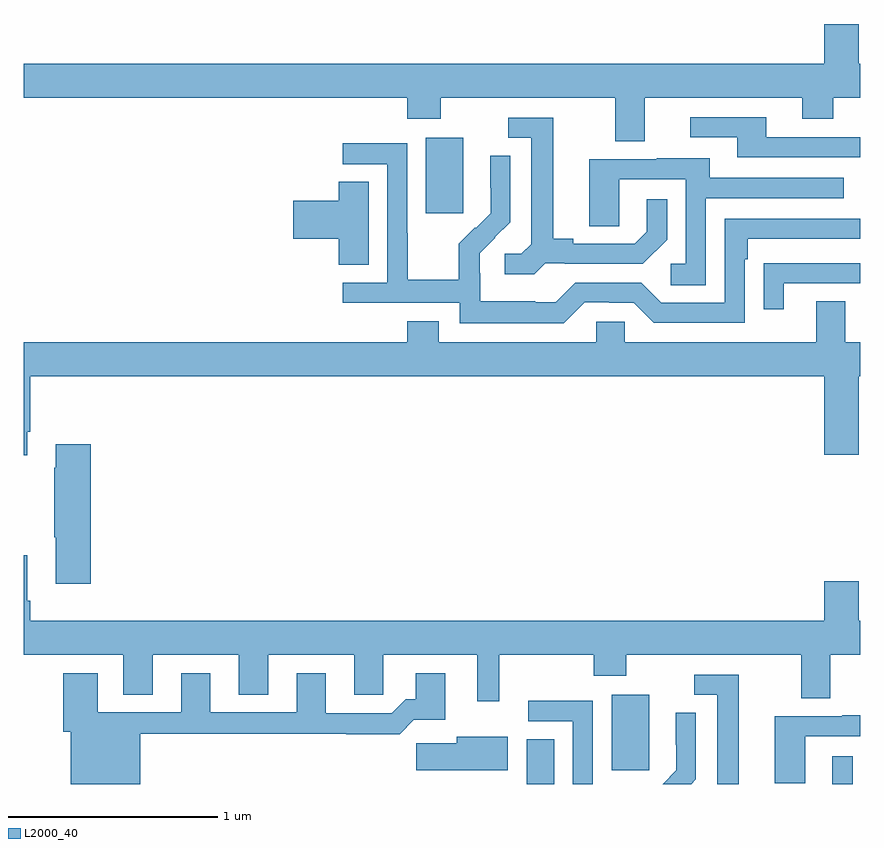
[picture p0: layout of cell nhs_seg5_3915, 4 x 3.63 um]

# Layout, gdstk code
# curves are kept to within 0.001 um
import gdstk
lib = gdstk.Library(unit=1e-6, precision=1e-09)
def R(c, l, rs):  # rectangles x0, y0, x1, y1
    for r in rs: c.add(gdstk.rectangle(r[:2], r[2:], *l))
def P(c, l, *ps):  # polygons
    for p in ps: c.add(gdstk.Polygon(p, *l))
L2000_40 = (2000, 40)

nhs_seg5_3915 = lib.new_cell('nhs_seg5_3915')
R(nhs_seg5_3915, L2000_40, [(343.406,866.799,343.537,867.014), (344.867,866.799,344.964,866.932), (343.811,866.865,343.99,867.226), (342.923,869.529,343.102,869.89)])
P(nhs_seg5_3915, L2000_40, [(343.969,870.08),(344.723,870.08),(344.723,869.981),(344.871,869.981),(344.871,870.08),(345,870.08),(345,870.244),(344.992,870.244),(344.992,870.433),(344.828,870.433),(344.828,870.244),(341,870.244),(341,870.08),(342.833,870.08),(342.833,869.981),(342.993,869.981),(342.993,870.08),(343.829,870.08),(343.829,869.872),(343.969,869.872)],
  [(345,869.892),(344.551,869.892),(344.551,869.988),(344.187,869.988),(344.187,869.892),(344.411,869.892),(344.411,869.796),(345,869.796)],
  [(343.494,869.289),(343.588,869.289),(343.588,869.286),(343.96,869.286),(344.076,869.402),(344.076,869.596),(343.979,869.596),(343.979,869.439),(343.922,869.382),(343.627,869.382),(343.627,869.405),(343.531,869.405),(343.531,869.985),(343.317,869.985),(343.317,869.889),(343.427,869.889),(343.427,869.381),(343.38,869.334),(343.299,869.334),(343.299,869.237),(343.442,869.237)],
  [(343.683,869.103),(343.799,869.103),(343.799,869.1),(343.917,869.1),(344.013,869.004),(344.448,869.004),(344.448,869.309),(344.461,869.309),(344.461,869.406),(345,869.406),(345,869.502),(344.352,869.502),(344.352,869.1),(344.049,869.1),(343.953,869.196),(343.638,869.196),(343.545,869.103),(343.445,869.103),(343.445,869.107),(343.182,869.107),(343.182,869.241),(343.18,869.241),(343.18,869.338),(343.326,869.486),(343.326,869.804),(343.23,869.804),(343.23,869.65),(343.232,869.65),(343.232,869.528),(343.161,869.457),(343.158,869.46),(343.081,869.383),(343.081,869.209),(342.837,869.209),(342.837,869.432),(342.834,869.432),(342.834,869.862),(342.525,869.862),(342.525,869.763),(342.738,869.763),(342.738,869.196),(342.525,869.196),(342.525,869.1),(343.086,869.1),(343.086,869.003),(343.583,869.003)],
  [(344.262,869.601),(344.921,869.601),(344.921,869.697),(344.281,869.697),(344.281,869.791),(344.027,869.791),(344.027,869.787),(343.703,869.787),(343.703,869.467),(343.848,869.467),(343.848,869.691),(344.166,869.691),(344.166,869.286),(344.094,869.286),(344.094,869.185),(344.262,869.185)],
  [(342.649,869.678),(342.506,869.678),(342.506,869.588),(342.288,869.588),(342.288,869.405),(342.506,869.405),(342.506,869.281),(342.649,869.281)],
  [(344.635,869.193),(345,869.193),(345,869.289),(344.641,869.289),(344.641,869.288),(344.539,869.288),(344.539,869.07),(344.635,869.07)],
  [(341.017,868.483),(341.03,868.483),(341.03,868.748),(344.828,868.748),(344.828,868.374),(344.992,868.374),(344.992,868.748),(345,868.748),(345,868.912),(344.929,868.912),(344.929,869.107),(344.789,869.107),(344.789,868.912),(343.875,868.912),(343.875,869.01),(343.737,869.01),(343.737,868.912),(342.985,868.912),(342.985,869.011),(342.833,869.011),(342.833,868.912),(341,868.912),(341,868.371),(341.017,868.371)],
  [(341.321,868.423),(341.153,868.423),(341.153,868.31),(341.146,868.31),(341.146,867.979),(341.153,867.979),(341.153,867.756),(341.321,867.756)],
  [(343.273,867.416),(343.726,867.416),(343.726,867.317),(343.881,867.317),(343.881,867.416),(344.717,867.416),(344.717,867.208),(344.857,867.208),(344.857,867.416),(345,867.416),(345,867.58),(344.992,867.58),(344.992,867.769),(344.828,867.769),(344.828,867.58),(341.03,867.58),(341.03,867.676),(341.017,867.676),(341.017,867.892),(341,867.892),(341,867.416),(341.477,867.416),(341.477,867.226),(341.617,867.226),(341.617,867.416),(342.029,867.416),(342.029,867.226),(342.169,867.226),(342.169,867.416),(342.581,867.416),(342.581,867.226),(342.72,867.226),(342.72,867.416),(343.169,867.416),(343.169,867.195),(343.273,867.195)],
  [(341.557,867.04),(342.541,867.04),(342.541,867.038),(342.797,867.038),(342.866,867.107),(343.015,867.107),(343.015,867.328),(342.875,867.328),(342.875,867.205),(342.826,867.205),(342.759,867.138),(342.445,867.138),(342.445,867.328),(342.305,867.328),(342.305,867.141),(341.893,867.141),(341.893,867.328),(341.753,867.328),(341.753,867.141),(341.353,867.141),(341.353,867.328),(341.189,867.328),(341.189,867.048),(341.225,867.048),(341.225,866.799),(341.557,866.799)],
  [(344.419,867.321),(344.205,867.321),(344.205,867.225),(344.315,867.225),(344.315,866.799),(344.419,866.799)],
  [(343.722,867.198),(343.413,867.198),(343.413,867.099),(343.626,867.099),(343.626,866.799),(343.722,866.799)],
  [(344.214,866.822),(344.214,867.14),(344.118,867.14),(344.118,866.986),(344.12,866.986),(344.12,866.864),(344.055,866.799),(344.191,866.799)],
  [(344.736,867.027),(345,867.027),(345,867.127),(344.915,867.127),(344.915,867.123),(344.591,867.123),(344.591,866.803),(344.736,866.803)],
  [(343.315,867.025),(343.07,867.025),(343.07,866.993),(342.876,866.993),(342.876,866.864),(343.315,866.864)])

lib.write_gds('nhs_seg5_3915.gds')
